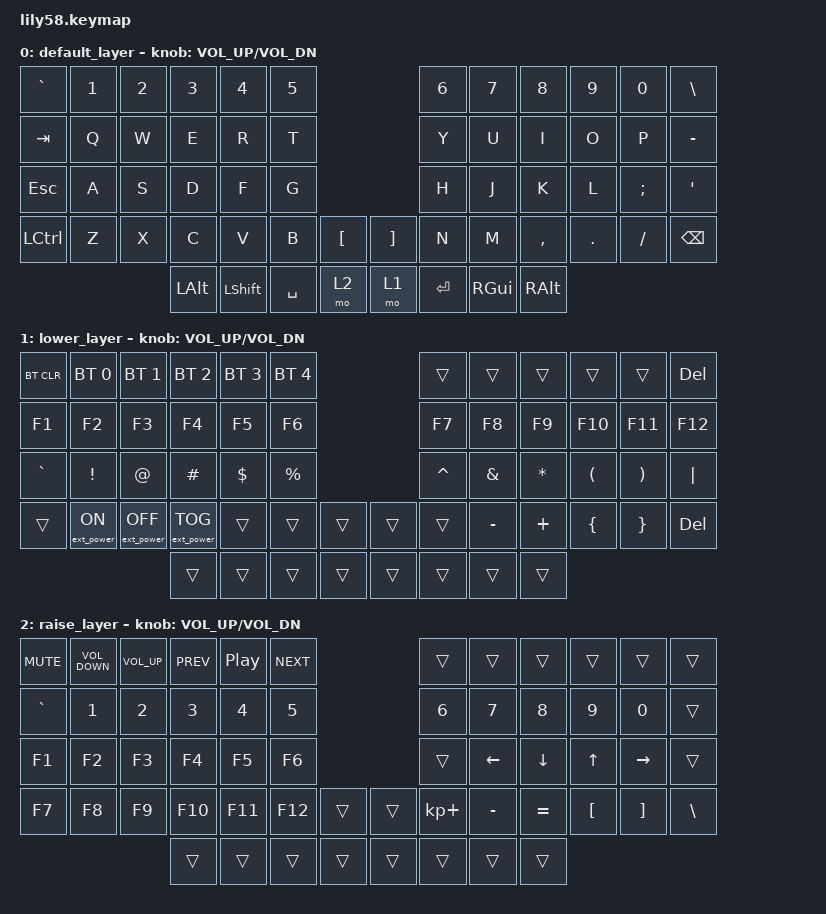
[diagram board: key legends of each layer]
/*
 * Copyright (c) 2020 The ZMK Contributors
 *
 * SPDX-License-Identifier: MIT
 */

#include <behaviors.dtsi>
#include <dt-bindings/zmk/bt.h>
#include <dt-bindings/zmk/ext_power.h>
#include <dt-bindings/zmk/keys.h>

/ {
    keymap {
        compatible = "zmk,keymap";

        default_layer {
            // ------------------------------------------------------------------------------------------------------------
            // |  ESC  |  1  |  2  |  3   |  4   |  5   |                   |  6   |  7    |  8    |  9   |   0   |   `   |
            // |  TAB  |  Q  |  W  |  E   |  R   |  T   |                   |  Y   |  U    |  I    |  O   |   P   |   -   |
            // |  CTRL |  A  |  S  |  D   |  F   |  G   |                   |  H   |  J    |  K    |  L   |   ;   |   '   |
            // | SHIFT |  Z  |  X  |  C   |  V   |  B   |   "["  |  |  "]"  |  N   |  M    |  ,    |  .   |   /   | SHIFT |
            //                     | ALT  | GUI  | LOWER|  SPACE |  | ENTER | RAISE| BSPC  | GUI   |

            bindings = <
&kp GRAVE   &kp N1  &kp N2  &kp N3    &kp N4          &kp N5                           &kp N6   &kp N7         &kp N8         &kp N9   &kp N0    &kp BACKSLASH
&kp TAB     &kp Q   &kp W   &kp E     &kp R           &kp T                            &kp Y    &kp U          &kp I          &kp O    &kp P     &kp MINUS
&kp ESCAPE  &kp A   &kp S   &kp D     &kp F           &kp G                            &kp H    &kp J          &kp K          &kp L    &kp SEMI  &kp SQT
&kp LCTRL   &kp Z   &kp X   &kp C     &kp V           &kp B      &kp LBKT    &kp RBKT  &kp N    &kp M          &kp COMMA      &kp DOT  &kp FSLH  &kp BACKSPACE
                            &kp LALT  &kp LEFT_SHIFT  &kp SPACE  &mo 2       &mo 1     &kp RET  &kp RIGHT_GUI  &kp RIGHT_ALT
            >;

            sensor-bindings = <&inc_dec_kp C_VOL_UP C_VOL_DN>;
        };

        lower_layer {
            // ------------------------------------------------------------------------------------------------------------
            // | BTCLR | BT1 | BT2 |  BT3 |  BT4 |  BT5 |                   |      |       |       |      |       |       |
            // |  F1   |  F2 |  F3 |  F4  |  F5  |  F6  |                   |  F7  |  F8   |  F9   |  F10 |  F11  |  F12  |
            // |   `   |  !  |  @  |  #   |  $   |  %   |                   |  ^   |  &    |  *    |  (   |   )   |   ~   |
            // |       |     |     |      |      |      |        |  |       |      |  _    |  +    |  {   |   }   |  "|"  |
            //                     |      |      |      |        |  |       |      |       |       |

            bindings = <
&bt BT_CLR  &bt BT_SEL 0      &bt BT_SEL 1       &bt BT_SEL 2       &bt BT_SEL 3  &bt BT_SEL 4                    &trans     &trans     &trans     &trans    &trans    &kp DELETE
&kp F1      &kp F2            &kp F3             &kp F4             &kp F5        &kp F6                          &kp F7     &kp F8     &kp F9     &kp F10   &kp F11   &kp F12
&kp GRAVE   &kp EXCL          &kp AT             &kp HASH           &kp DOLLAR    &kp PRCNT                       &kp CARET  &kp AMPS   &kp ASTRK  &kp LPAR  &kp RPAR  &kp PIPE
&trans      &ext_power EP_ON  &ext_power EP_OFF  &ext_power EP_TOG  &trans        &trans        &trans    &trans  &trans     &kp MINUS  &kp PLUS   &kp LBRC  &kp RBRC  &kp DELETE
                                                 &trans             &trans        &trans        &trans    &trans  &trans     &trans     &trans
            >;

            sensor-bindings = <&inc_dec_kp C_VOL_UP C_VOL_DN>;
        };

        raise_layer {
            // ------------------------------------------------------------------------------------------------------------
            // |       |     |     |      |      |      |                   |      |       |       |      |       |       |
            // |   `   |  1  |  2  |  3   |  4   |  5   |                   |  6   |   7   |   8   |  9   |   0   |       |
            // |   F1  |  F2 |  F3 |  F4  |  F5  |  F6  |                   |      |   <-  |   v   |  ^   |  ->   |       |
            // |   F7  |  F8 |  F9 |  F10 |  F11 |  F12 |        |  |       |  +   |   -   |   =   |  [   |   ]   |   \   |
            //                     |      |      |      |        |  |       |      |       |       |

            bindings = <
&kp K_MUTE  &kp C_VOLUME_DOWN  &kp C_VOLUME_UP  &kp C_PREV  &kp C_PP  &kp C_NEXT                    &trans       &trans     &trans     &trans    &trans     &trans
&kp GRAVE   &kp N1             &kp N2           &kp N3      &kp N4    &kp N5                        &kp N6       &kp N7     &kp N8     &kp N9    &kp N0     &trans
&kp F1      &kp F2             &kp F3           &kp F4      &kp F5    &kp F6                        &trans       &kp LEFT   &kp DOWN   &kp UP    &kp RIGHT  &trans
&kp F7      &kp F8             &kp F9           &kp F10     &kp F11   &kp F12     &trans    &trans  &kp KP_PLUS  &kp MINUS  &kp EQUAL  &kp LBKT  &kp RBKT   &kp BSLH
                                                &trans      &trans    &trans      &trans    &trans  &trans       &trans     &trans
            >;

            sensor-bindings = <&inc_dec_kp C_VOL_UP C_VOL_DN>;
        };
    };
};
